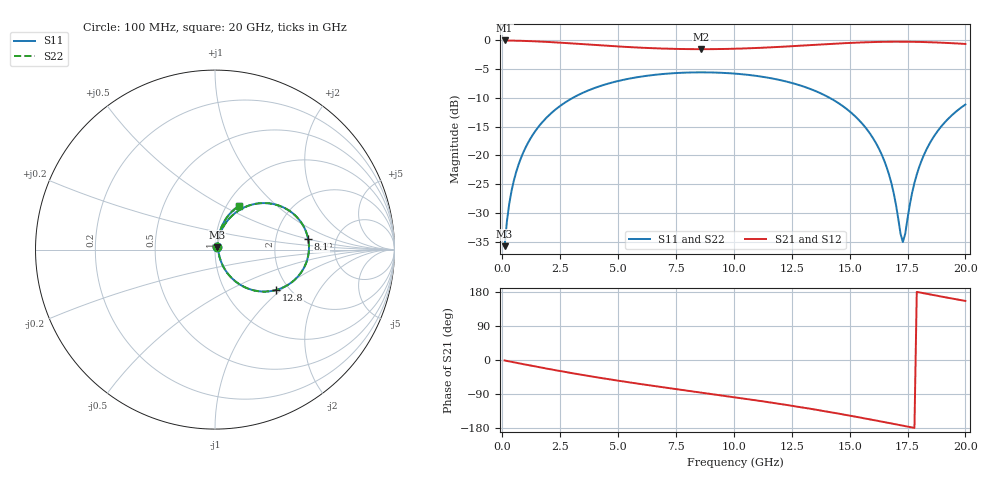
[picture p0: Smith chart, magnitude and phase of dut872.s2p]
! Touchstone file exported from HFSS 2026.1.0
!  File:  C:/ffzhzh/LocalFiles/Ansys_Project_Files/temp_train_TSV_RDL_872_1783272355_38820.aedt
!  Generated:  01:35:18 AM Jul  6, 2026
!  Design:  TSV_RDL
!  Project:  temp_train_TSV_RDL_872_1783272355_38820
! Variables:
!  h_bsmrdl = 5.3um
!  h_ox = 20um
!  h_rdl = 5um
!  h_sub = 96.77um
!  h_tmrdl = 4.54um
!  h_tsv = 96.77um
!  h_via = 3um
!  l_bsmrdl = 589.15um
!  l_sub = 3158.31um
!  l_tmrdl = 217.94um
!  m_sub = 200um
!  pitch = 58.58um
!  r_tsv = 11.3um
!  s_tmrdl = 10um
!  w_bsmrdl = 24.71um
!  w_sub = 500um
!  w_tmrdl = 14.99um
!  x_tsv_center1 = 225.435um
!  x_tsv_center2 = 839.295um
!  x_tsv_center3 = 1072.225um
!  x_tsv_center4 = 1686.085um
!  x_tsv_center5 = 1919.015um
!  x_tsv_center6 = 2532.875um
# GHz S MA R 50.000000
! Terminal data exported
! Port[1] = TM_RDL1_1_T1
! Port[2] = TM_RDL5_1_T1
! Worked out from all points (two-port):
!   200 points, 100 MHz to 20 GHz, reference 50 ohm
!   highest |S21| = -0.09 dB at 100 MHz (marker M1); lowest = -1.6 dB at 8.6 GHz (marker M2)
!   |S21| within 3 dB of the highest: start of sweep to end of sweep
!   lowest |S11| = -35.7 dB at 100 MHz (marker M3), VSWR 1.03, Z = 51.1 + j1.24 ohm
!   |S11| at or under -10 dB: start of sweep to 3.06 GHz; 14.12 GHz to end of sweep
!   |S22| runs from -35.7 to -5.6 dB; largest |S21 - S12| = 1.7e-14
!   S11 on the Smith chart (normalised r, x): 100 MHz: 1.02, +0.02; 8.1 GHz: 3.10, +0.51; 12.8 GHz: 1.71, -0.93; 20 GHz: 1.14, +0.60
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0.1  0.01638 48.0  0.9892 -1.2  0.9892 -1.2  0.01638 48.0
! Gamma 0 0 0 0
! Port Impedance 50 0 50 0
0.2  0.02696 63.0  0.9885 -2.5  0.9885 -2.5  0.02696 63.0
0.4  0.04941 70.8  0.9866 -4.9  0.9866 -4.9  0.04941 70.8
0.7  0.08307 72.5  0.9834 -8.5  0.9834 -8.5  0.08308 72.5
1.1  0.1274 70.5  0.9779 -13.2  0.9779 -13.2  0.1274 70.5
2.1  0.231 61.3  0.9571 -24.7  0.9571 -24.7  0.231 61.3
3.5  0.3501 47.2  0.9183 -39.8  0.9183 -39.8  0.3501 47.2
6.8  0.5039 17.3  0.8434 -70.7  0.8434 -70.7  0.5039 17.3
8.1  0.5224 6.5  0.8323 -81.9  0.8323 -81.9  0.5224 6.5
8.6  0.5239 2.4  0.8313 -86.1  0.8313 -86.1  0.5239 2.4
10.1  0.5098 -9.9  0.8394 -98.9  0.8394 -98.9  0.5098 -9.9
12.8  0.4075 -33.6  0.8891 -123.7  0.8891 -123.7  0.4075 -33.6
13.4  0.3697 -39.2  0.9039 -129.7  0.9039 -129.7  0.3697 -39.2
15.5  0.1928 -58.8  0.9509 -152.4  0.9509 -152.4  0.1929 -58.9
16.2  0.1213 -63.6  0.9605 -160.4  0.9605 -160.4  0.1213 -63.7
16.7  0.06841 -62.7  0.9644 -166.2  0.9644 -166.2  0.06839 -62.8
16.9  0.04758 -58.1  0.9651 -168.6  0.9651 -168.6  0.04755 -58.3
17.3  0.01777 5.3  0.9652 -173.3  0.9652 -173.3  0.01763 5.2
17.8  0.05783 71.7  0.9627 -179.2  0.9627 -179.2  0.05777 71.8
18.2  0.1 74.8  0.9587 176.2  0.9587 176.2  0.09997 74.9
19  0.1825 70.5  0.9459 167.0  0.9459 167.0  0.1824 70.5
20  0.2758 61.5  0.9231 155.9  0.9231 155.9  0.2758 61.5
